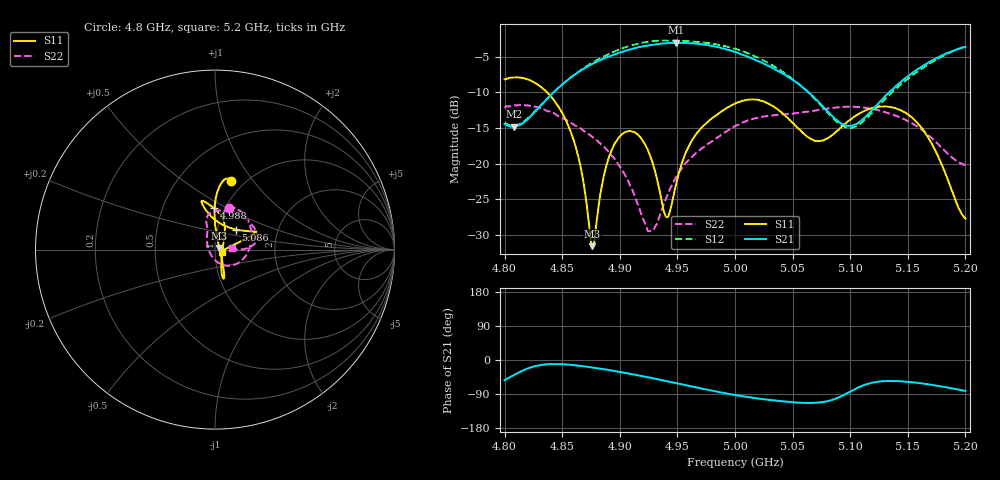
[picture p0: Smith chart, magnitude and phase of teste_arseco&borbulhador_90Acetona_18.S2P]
! Network Analyzer HP8722D
! Hewlett-Packard
! Data name: Linha & Wilkinson
! Saver's name: Rodrigo Anjos
! Comments: Teste da utilização de aquisição
! continua pelo VNA HP8722D
! Time and date: 17/4/2025 11:12
!  Frequency  S11  S21  S12  S22
# HZ  S  MA R 50
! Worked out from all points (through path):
!   401 points, 4.8 GHz to 5.2 GHz, reference 50 ohm
!   highest |S21| = -3.07 dB at 4.949 GHz (marker M1); lowest = -14.8 dB at 4.808 GHz (marker M2)
!   lowest |S11| = -31.6 dB at 4.876 GHz (marker M3), VSWR 1.05, Z = 52.5 + j1.02 ohm
!   |S11| at or under -10 dB: 4.837 GHz to end of sweep
!   |S22| runs from -29.5 to -11.7 dB; largest |S21 - S12| = 1.4
!   S11 on the Smith chart (normalised r, x): 4.8 GHz: 0.87, +0.78; 4.988 GHz: 0.89, +0.43; 5.086 GHz: 1.23, +0.28; 5.2 GHz: 1.08, -0.03
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4.8e9  0.3897 76.8  0.1894 -53.0  0.1929 82.1  0.2459 71.8
4.808e9  0.4013 79.2  0.1811 -39.9  0.1842 93.9  0.2549 65.0
4.845e9  0.2627 89.8  0.3294 -10.6  0.3301 122.7  0.2192 21.3
4.858e9  0.162 90.1  0.4039 -12.9  0.406 122.4  0.1918 1.8
4.867e9  0.08601 84.1  0.4529 -16.0  0.4579 121.1  0.1739 -12.2
4.876e9  0.02635 21.7  0.4984 -19.7  0.5085 118.8  0.1544 -26.5
4.889e9  0.1007 -63.5  0.5564 -25.7  0.5779 114.6  0.1248 -46.1
4.902e9  0.1607 -71.4  0.6059 -32.7  0.6411 108.9  0.08998 -66.3
4.924e9  0.1264 -73.4  0.6698 -45.4  0.7116 96.7  0.03395 -136.1
4.934e9  0.06784 -57.9  0.6886 -51.7  0.7268 90.4  0.04154 160.6
4.941e9  0.04204 -6.7  0.6974 -55.9  0.7279 85.9  0.05934 138.2
4.949e9  0.07244 47.5  0.7021 -61.0  0.7279 80.8  0.08059 124.4
4.963e9  0.1469 68.9  0.6977 -70.2  0.7156 72.0  0.1118 112.1
4.988e9  0.2309 91.6  0.6441 -85.6  0.6747 55.8  0.1593 107.9
5e9  0.2632 100.0  0.6057 -92.4  0.6388 48.4  0.1828 104.9
5.027e9  0.2675 105.7  0.4922 -104.4  0.5162 34.5  0.2147 89.5
5.067e9  0.1472 76.5  0.2995 -113.3  0.2968 27.6  0.2335 54.3
5.086e9  0.1621 43.6  0.2097 -103.5  0.2045 39.3  0.2461 36.4
5.105e9  0.2169 28.0  0.1889 -75.3  0.182 69.2  0.2495 22.1
5.134e9  0.2498 23.3  0.3162 -55.4  0.3026 91.0  0.2247 8.8
5.165e9  0.164 18.9  0.4936 -63.1  0.4787 84.9  0.1657 1.3
5.2e9  0.04116 -16.8  0.6582 -81.7  0.6615 67.5  0.09722 5.4
